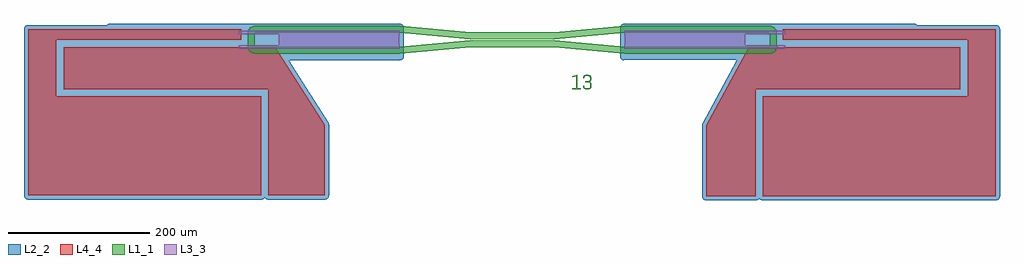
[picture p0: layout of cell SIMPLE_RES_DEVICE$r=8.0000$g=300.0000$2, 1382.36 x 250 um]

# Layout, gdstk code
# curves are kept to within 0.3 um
import gdstk
lib = gdstk.Library(unit=1e-6, precision=1e-10)
def P(c, l, *ps):  # polygons
    for p in ps: c.add(gdstk.Polygon(p, *l))
L1_1 = (1, 1)
L2_2 = (2, 2)
L3_3 = (3, 3)
L4_4 = (4, 4)

simple_res_device_r_8_00 = lib.new_cell('SIMPLE_RES_DEVICE$r=8.0000$g=300.0000$2')
P(simple_res_device_r_8_00, L1_1, [(-610.382,-15.25),(-614.2088,-14.4888),(-617.4531,-12.3211),(-619.6208,-9.0768),(-620.3338,-6.2302),(-619.9514,17.6528),(-616.7259,22.4801),(-611.3622,24.7018),(-405.182,24.75),(-304.713,15.35),(-245.6,15.35),(-245.6,5.35),(-305.182,5.35),(-405.182,14.75),(-610.382,14.75),(-610.382,-5.25),(-405.182,-5.25),(-305.182,4.15),(-245.6,4.15),(-245.6,-5.85),(-304.713,-5.85),(-405.182,-15.25)],
  [(-86.018,-15.25),(-186.487,-5.85),(-245.6,-5.85),(-245.6,4.15),(-186.018,4.15),(-86.018,-5.25),(119.182,-5.25),(119.182,14.75),(-86.018,14.75),(-186.018,5.35),(-245.6,5.35),(-245.6,15.35),(-186.487,15.35),(-86.018,24.75),(120.1622,24.7018),(125.5259,22.4801),(128.7514,17.6528),(129.1338,-6.2302),(128.0012,-9.964),(125.5259,-12.9801),(123.0088,-14.4888),(119.182,-15.25)],
  [(-140.112,-65.548),(-142.57,-65.138),(-143.59,-64.69),(-144.524,-63.934),(-145.1,-62.864),(-145.274,-60.466),(-143.71,-60.466),(-143.448,-62.708),(-142.682,-63.494),(-141.528,-63.962),(-140.23,-64.168),(-137.914,-64.062),(-136.808,-63.71),(-135.884,-63.09),(-135.212,-62.16),(-135.212,-57.766),(-135.44,-56.756),(-136.056,-55.94),(-136.934,-55.438),(-138.152,-55.188),(-142.428,-55.188),(-142.428,-53.828),(-138.444,-53.828),(-137.424,-53.672),(-136.436,-53.186),(-135.694,-52.34),(-135.4,-51.346),(-135.528,-48.066),(-136.104,-47.168),(-137.022,-46.604),(-138.072,-46.316),(-140.208,-46.24),(-142.524,-46.89),(-143.29,-47.658),(-143.566,-48.692),(-143.566,-49.89),(-145.132,-49.89),(-145.132,-48.692),(-144.982,-47.554),(-144.46,-46.488),(-143.574,-45.718),(-141.218,-44.946),(-138.8,-44.832),(-136.358,-45.228),(-135.37,-45.672),(-134.484,-46.432),(-133.978,-47.556),(-133.946,-52.2),(-134.35,-53.258),(-135.092,-54.016),(-136.08,-54.416),(-134.222,-55.754),(-133.78,-56.678),(-133.654,-61.746),(-133.828,-62.86),(-134.404,-63.91),(-135.338,-64.67),(-137.716,-65.434)],
  [(-160.601,-65.22),(-160.601,-63.87),(-155.289,-63.87),(-155.289,-46.736),(-160.601,-48.1),(-160.601,-46.7),(-153.805,-44.946),(-153.805,-63.87),(-148.353,-63.87),(-148.353,-63.87),(-148.353,-65.22)])
P(simple_res_device_r_8_00, L2_2, [(29.182,-222.5),(26.8859,-222.0433),(25.3756,-221.1381),(23.8905,-219.3284),(23.2109,-217.0881),(23.2995,-115.3184),(72.0913,-24.5),(-88.5597,-24.2416),(-91.4561,-22.3064),(-92.3613,-20.7961),(-92.818,-18.5),(-92.7891,22.0881),(-91.8068,24.8334),(-89.6464,26.7915),(-86.818,27.5),(323.182,27.5),(325.4781,27.0433),(327.6446,25.5),(439.182,25.5),(442.0104,24.7915),(444.4735,22.3284),(445.182,19.5),(445.182,-216.5),(444.4735,-219.3284),(442.0104,-221.7915),(439.182,-222.5),(109.182,-222.5),(106.3536,-221.7915),(104.182,-219.8148),(102.0104,-221.7915),(99.182,-222.5)],
  [(-931.182,-221.5),(-933.4781,-221.0433),(-935.4246,-219.7426),(-936.7253,-217.7961),(-937.182,-215.5),(-937.182,19.5),(-936.1708,22.8334),(-933.4781,25.0433),(-931.182,25.5),(-819.6446,25.5),(-817.4781,27.0433),(-815.182,27.5),(-405.182,27.5),(-401.8486,26.4888),(-399.6387,23.7961),(-399.182,21.5),(-399.2109,-19.0881),(-400.5439,-22.3064),(-403.4403,-24.2416),(-561.9792,-24.5),(-505.4213,-113.8225),(-505.182,-215.5),(-506.1932,-218.8334),(-508.8859,-221.0433),(-511.182,-221.5),(-591.182,-221.5),(-594.0104,-220.7915),(-596.182,-218.8148),(-598.3536,-220.7915),(-601.182,-221.5)])
P(simple_res_device_r_8_00, L3_3, [(-86.818,-8),(-86.818,-3),(-86.363,-3),(-86.363,11.75),(-85.918,11.75),(-85.918,-3),(-85.918,-3),(-84.563,-3),(-84.563,11.75),(-84.118,11.75),(-84.118,-3),(-82.763,-3),(-82.763,11.75),(-82.318,11.75),(-82.318,-3),(-80.963,-3),(-80.963,11.75),(-80.518,11.75),(-80.518,-3),(-79.163,-3),(-79.163,11.75),(-78.718,11.75),(-78.718,-3),(-77.363,-3),(-77.363,11.75),(-76.918,11.75),(-76.918,-3),(-75.563,-3),(-75.563,11.75),(-75.118,11.75),(-75.118,-3),(-73.763,-3),(-73.763,11.75),(-73.318,11.75),(-73.318,-3),(-71.963,-3),(-71.963,11.75),(-71.518,11.75),(-71.518,-3),(-70.163,-3),(-70.163,11.75),(-69.718,11.75),(-69.718,-3),(-68.363,-3),(-68.363,11.75),(-67.918,11.75),(-67.918,-3),(-66.563,-3),(-66.563,11.75),(-66.118,11.75),(-66.118,-3),(-64.763,-3),(-64.763,11.75),(-64.318,11.75),(-64.318,-3),(-62.963,-3),(-62.963,11.75),(-62.518,11.75),(-62.518,-3),(-61.163,-3),(-61.163,11.75),(-60.718,11.75),(-60.718,-3),(-59.363,-3),(-59.363,11.75),(-58.918,11.75),(-58.918,-3),(-57.563,-3),(-57.563,11.75),(-57.118,11.75),(-57.118,-3),(-55.763,-3),(-55.763,11.75),(-55.318,11.75),(-55.318,-3),(-53.963,-3),(-53.963,11.75),(-53.518,11.75),(-53.518,-3),(-52.163,-3),(-52.163,11.75),(-51.718,11.75),(-51.718,-3),(-50.363,-3),(-50.363,11.75),(-49.918,11.75),(-49.918,-3),(-48.563,-3),(-48.563,11.75),(-48.118,11.75),(-48.118,-3),(-46.763,-3),(-46.763,11.75),(-46.318,11.75),(-46.318,-3),(-44.963,-3),(-44.963,11.75),(-44.518,11.75),(-44.518,-3),(-43.163,-3),(-43.163,11.75),(-42.718,11.75),(-42.718,-3),(-41.363,-3),(-41.363,11.75),(-40.918,11.75),(-40.918,-3),(-39.563,-3),(-39.563,11.75),(-39.118,11.75),(-39.118,-3),(-37.763,-3),(-37.763,11.75),(-37.318,11.75),(-37.318,-3),(-35.963,-3),(-35.963,11.75),(-35.518,11.75),(-35.518,-3),(-34.163,-3),(-34.163,11.75),(-33.718,11.75),(-33.718,-3),(-32.363,-3),(-32.363,11.75),(-31.918,11.75),(-31.918,-3),(-30.563,-3),(-30.563,11.75),(-30.118,11.75),(-30.118,-3),(-28.763,-3),(-28.763,11.75),(-28.318,11.75),(-28.318,-3),(-26.963,-3),(-26.963,11.75),(-26.518,11.75),(-26.518,-3),(-25.163,-3),(-25.163,11.75),(-24.718,11.75),(-24.718,-3),(-23.363,-3),(-23.363,11.75),(-22.918,11.75),(-22.918,-3),(-21.563,-3),(-21.563,11.75),(-21.118,11.75),(-21.118,-3),(-19.763,-3),(-19.763,11.75),(-19.318,11.75),(-19.318,-3),(-17.963,-3),(-17.963,11.75),(-17.518,11.75),(-17.518,-3),(-16.163,-3),(-16.163,11.75),(-15.718,11.75),(-15.718,-3),(-14.363,-3),(-14.363,11.75),(-13.918,11.75),(-13.918,-3),(-12.563,-3),(-12.563,11.75),(-12.118,11.75),(-12.118,-3),(-10.763,-3),(-10.763,11.75),(-10.318,11.75),(-10.318,-3),(-8.963,-3),(-8.963,11.75),(-8.518,11.75),(-8.518,-3),(-7.163,-3),(-7.163,11.75),(-6.718,11.75),(-6.718,-3),(-5.363,-3),(-5.363,11.75),(-4.918,11.75),(-4.918,-3),(-3.563,-3),(-3.563,11.75),(-3.118,11.75),(-3.118,-3),(-1.763,-3),(-1.763,11.75),(-1.318,11.75),(-1.318,-3),(0.037,-3),(0.037,11.75),(0.482,11.75),(0.482,-3),(1.837,-3),(1.837,11.75),(2.282,11.75),(2.282,-3),(3.637,-3),(3.637,11.75),(4.082,11.75),(4.082,-3),(5.437,-3),(5.437,11.75),(5.882,11.75),(5.882,-3),(7.237,-3),(7.237,11.75),(7.682,11.75),(7.682,-3),(9.037,-3),(9.037,11.75),(9.482,11.75),(9.482,-3),(10.837,-3),(10.837,11.75),(11.282,11.75),(11.282,-3),(12.637,-3),(12.637,11.75),(13.082,11.75),(13.082,-3),(14.437,-3),(14.437,11.75),(14.882,11.75),(14.882,-3),(16.237,-3),(16.237,11.75),(16.682,11.75),(16.682,-3),(18.037,-3),(18.037,11.75),(18.482,11.75),(18.482,-3),(19.837,-3),(19.837,11.75),(20.282,11.75),(20.282,-3),(21.637,-3),(21.637,11.75),(22.082,11.75),(22.082,-3),(23.437,-3),(23.437,11.75),(23.882,11.75),(23.882,-3),(25.237,-3),(25.237,11.75),(25.682,11.75),(25.682,-3),(27.037,-3),(27.037,11.75),(27.482,11.75),(27.482,-3),(28.837,-3),(28.837,11.75),(29.282,11.75),(29.282,-3),(30.637,-3),(30.637,11.75),(31.082,11.75),(31.082,-3),(32.437,-3),(32.437,11.75),(32.882,11.75),(32.882,-3),(34.237,-3),(34.237,11.75),(34.682,11.75),(34.682,-3),(36.037,-3),(36.037,11.75),(36.482,11.75),(36.482,-3),(37.837,-3),(37.837,11.75),(38.282,11.75),(38.282,-3),(39.637,-3),(39.637,11.75),(40.082,11.75),(40.082,-3),(41.437,-3),(41.437,11.75),(41.882,11.75),(41.882,-3),(43.237,-3),(43.237,11.75),(43.682,11.75),(43.682,-3),(45.037,-3),(45.037,11.75),(45.482,11.75),(45.482,-3),(46.837,-3),(46.837,11.75),(47.282,11.75),(47.282,-3),(48.637,-3),(48.637,11.75),(49.082,11.75),(49.082,-3),(50.437,-3),(50.437,11.75),(50.882,11.75),(50.882,-3),(52.237,-3),(52.237,11.75),(52.682,11.75),(52.682,-3),(54.037,-3),(54.037,11.75),(54.482,11.75),(54.482,-3),(55.837,-3),(55.837,11.75),(56.282,11.75),(56.282,-3),(57.637,-3),(57.637,11.75),(58.082,11.75),(58.082,-3),(59.437,-3),(59.437,11.75),(59.882,11.75),(59.882,-3),(61.237,-3),(61.237,11.75),(61.682,11.75),(61.682,-3),(63.037,-3),(63.037,11.75),(63.482,11.75),(63.482,-3),(64.837,-3),(64.837,11.75),(65.282,11.75),(65.282,-3),(66.637,-3),(66.637,11.75),(67.082,11.75),(67.082,-3),(68.437,-3),(68.437,11.75),(68.882,11.75),(68.882,-3),(70.237,-3),(70.237,11.75),(70.682,11.75),(70.682,-3),(72.037,-3),(72.037,11.75),(72.482,11.75),(72.482,-3),(73.837,-3),(73.837,11.75),(74.282,11.75),(74.282,-3),(75.637,-3),(75.637,11.75),(76.082,11.75),(76.082,-3),(77.437,-3),(77.437,11.75),(77.882,11.75),(77.882,-3),(79.237,-3),(79.237,11.75),(79.682,11.75),(79.682,-3),(81.037,-3),(81.037,11.75),(81.482,11.75),(81.482,-3),(82.837,-3),(82.837,11.75),(83.282,11.75),(83.282,-3),(141.182,-3),(141.182,-8)],
  [(-85.463,-2.25),(-85.463,12.5),(-86.818,12.5),(-86.818,17.5),(141.182,17.5),(141.182,12.5),(84.182,12.5),(84.182,-2.25),(83.737,-2.25),(83.737,12.5),(82.382,12.5),(82.382,-2.25),(81.937,-2.25),(81.937,12.5),(80.582,12.5),(80.582,-2.25),(80.137,-2.25),(80.137,12.5),(78.782,12.5),(78.782,-2.25),(78.337,-2.25),(78.337,12.5),(76.982,12.5),(76.982,-2.25),(76.537,-2.25),(76.537,12.5),(75.182,12.5),(75.182,-2.25),(74.737,-2.25),(74.737,12.5),(73.382,12.5),(73.382,-2.25),(72.937,-2.25),(72.937,12.5),(71.582,12.5),(71.582,-2.25),(71.137,-2.25),(71.137,12.5),(69.782,12.5),(69.782,-2.25),(69.337,-2.25),(69.337,12.5),(67.982,12.5),(67.982,-2.25),(67.537,-2.25),(67.537,12.5),(66.182,12.5),(66.182,-2.25),(65.737,-2.25),(65.737,12.5),(64.382,12.5),(64.382,-2.25),(63.937,-2.25),(63.937,12.5),(62.582,12.5),(62.582,-2.25),(62.137,-2.25),(62.137,12.5),(60.782,12.5),(60.782,-2.25),(60.337,-2.25),(60.337,12.5),(58.982,12.5),(58.982,-2.25),(58.537,-2.25),(58.537,12.5),(57.182,12.5),(57.182,-2.25),(56.737,-2.25),(56.737,12.5),(55.382,12.5),(55.382,-2.25),(54.937,-2.25),(54.937,12.5),(53.582,12.5),(53.582,-2.25),(53.137,-2.25),(53.137,12.5),(51.782,12.5),(51.782,-2.25),(51.337,-2.25),(51.337,12.5),(49.982,12.5),(49.982,-2.25),(49.537,-2.25),(49.537,12.5),(48.182,12.5),(48.182,-2.25),(47.737,-2.25),(47.737,12.5),(46.382,12.5),(46.382,-2.25),(45.937,-2.25),(45.937,12.5),(44.582,12.5),(44.582,-2.25),(44.137,-2.25),(44.137,12.5),(42.782,12.5),(42.782,-2.25),(42.337,-2.25),(42.337,12.5),(40.982,12.5),(40.982,-2.25),(40.537,-2.25),(40.537,12.5),(39.182,12.5),(39.182,-2.25),(38.737,-2.25),(38.737,12.5),(37.382,12.5),(37.382,-2.25),(36.937,-2.25),(36.937,12.5),(35.582,12.5),(35.582,-2.25),(35.137,-2.25),(35.137,12.5),(33.782,12.5),(33.782,-2.25),(33.337,-2.25),(33.337,12.5),(31.982,12.5),(31.982,-2.25),(31.537,-2.25),(31.537,12.5),(30.182,12.5),(30.182,-2.25),(29.737,-2.25),(29.737,12.5),(28.382,12.5),(28.382,-2.25),(27.937,-2.25),(27.937,12.5),(26.582,12.5),(26.582,-2.25),(26.137,-2.25),(26.137,12.5),(24.782,12.5),(24.782,-2.25),(24.337,-2.25),(24.337,12.5),(22.982,12.5),(22.982,-2.25),(22.537,-2.25),(22.537,12.5),(21.182,12.5),(21.182,-2.25),(20.737,-2.25),(20.737,12.5),(19.382,12.5),(19.382,-2.25),(18.937,-2.25),(18.937,12.5),(17.582,12.5),(17.582,-2.25),(17.137,-2.25),(17.137,12.5),(15.782,12.5),(15.782,-2.25),(15.337,-2.25),(15.337,12.5),(13.982,12.5),(13.982,-2.25),(13.537,-2.25),(13.537,12.5),(12.182,12.5),(12.182,-2.25),(11.737,-2.25),(11.737,12.5),(10.382,12.5),(10.382,-2.25),(9.937,-2.25),(9.937,12.5),(8.582,12.5),(8.582,-2.25),(8.137,-2.25),(8.137,12.5),(6.782,12.5),(6.782,-2.25),(6.337,-2.25),(6.337,12.5),(4.982,12.5),(4.982,-2.25),(4.537,-2.25),(4.537,12.5),(3.182,12.5),(3.182,-2.25),(2.737,-2.25),(2.737,12.5),(1.382,12.5),(1.382,-2.25),(0.937,-2.25),(0.937,12.5),(-0.418,12.5),(-0.418,-2.25),(-0.863,-2.25),(-0.863,12.5),(-2.218,12.5),(-2.218,-2.25),(-2.663,-2.25),(-2.663,12.5),(-4.018,12.5),(-4.018,-2.25),(-4.463,-2.25),(-4.463,12.5),(-5.818,12.5),(-5.818,-2.25),(-6.263,-2.25),(-6.263,12.5),(-7.618,12.5),(-7.618,-2.25),(-8.063,-2.25),(-8.063,12.5),(-9.418,12.5),(-9.418,-2.25),(-9.863,-2.25),(-9.863,12.5),(-11.218,12.5),(-11.218,-2.25),(-11.663,-2.25),(-11.663,12.5),(-13.018,12.5),(-13.018,-2.25),(-13.463,-2.25),(-13.463,12.5),(-14.818,12.5),(-14.818,-2.25),(-15.263,-2.25),(-15.263,12.5),(-16.618,12.5),(-16.618,-2.25),(-17.063,-2.25),(-17.063,12.5),(-18.418,12.5),(-18.418,-2.25),(-18.863,-2.25),(-18.863,12.5),(-20.218,12.5),(-20.218,-2.25),(-20.663,-2.25),(-20.663,12.5),(-22.018,12.5),(-22.018,-2.25),(-22.463,-2.25),(-22.463,12.5),(-23.818,12.5),(-23.818,-2.25),(-24.263,-2.25),(-24.263,12.5),(-25.618,12.5),(-25.618,-2.25),(-26.063,-2.25),(-26.063,12.5),(-27.418,12.5),(-27.418,-2.25),(-27.863,-2.25),(-27.863,12.5),(-29.218,12.5),(-29.218,-2.25),(-29.663,-2.25),(-29.663,12.5),(-31.018,12.5),(-31.018,-2.25),(-31.463,-2.25),(-31.463,12.5),(-32.818,12.5),(-32.818,-2.25),(-33.263,-2.25),(-33.263,12.5),(-34.618,12.5),(-34.618,-2.25),(-35.063,-2.25),(-35.063,12.5),(-36.418,12.5),(-36.418,-2.25),(-36.863,-2.25),(-36.863,12.5),(-38.218,12.5),(-38.218,-2.25),(-38.663,-2.25),(-38.663,12.5),(-40.018,12.5),(-40.018,-2.25),(-40.463,-2.25),(-40.463,12.5),(-41.818,12.5),(-41.818,-2.25),(-42.263,-2.25),(-42.263,12.5),(-43.618,12.5),(-43.618,-2.25),(-44.063,-2.25),(-44.063,12.5),(-45.418,12.5),(-45.418,-2.25),(-45.863,-2.25),(-45.863,12.5),(-47.218,12.5),(-47.218,-2.25),(-47.663,-2.25),(-47.663,12.5),(-49.018,12.5),(-49.018,-2.25),(-49.463,-2.25),(-49.463,12.5),(-50.818,12.5),(-50.818,-2.25),(-51.263,-2.25),(-51.263,12.5),(-52.618,12.5),(-52.618,-2.25),(-53.063,-2.25),(-53.063,12.5),(-54.418,12.5),(-54.418,-2.25),(-54.863,-2.25),(-54.863,12.5),(-56.218,12.5),(-56.218,-2.25),(-56.663,-2.25),(-56.663,12.5),(-58.018,12.5),(-58.018,-2.25),(-58.463,-2.25),(-58.463,12.5),(-59.818,12.5),(-59.818,-2.25),(-60.263,-2.25),(-60.263,12.5),(-61.618,12.5),(-61.618,-2.25),(-62.063,-2.25),(-62.063,12.5),(-63.418,12.5),(-63.418,-2.25),(-63.863,-2.25),(-63.863,12.5),(-65.218,12.5),(-65.218,-2.25),(-65.663,-2.25),(-65.663,12.5),(-67.018,12.5),(-67.018,-2.25),(-67.463,-2.25),(-67.463,12.5),(-68.818,12.5),(-68.818,-2.25),(-69.263,-2.25),(-69.263,12.5),(-70.618,12.5),(-70.618,-2.25),(-71.063,-2.25),(-71.063,12.5),(-72.418,12.5),(-72.418,-2.25),(-72.863,-2.25),(-72.863,12.5),(-74.218,12.5),(-74.218,-2.25),(-74.663,-2.25),(-74.663,12.5),(-76.018,12.5),(-76.018,-2.25),(-76.463,-2.25),(-76.463,12.5),(-77.818,12.5),(-77.818,-2.25),(-78.263,-2.25),(-78.263,12.5),(-79.618,12.5),(-79.618,-2.25),(-80.063,-2.25),(-80.063,12.5),(-80.063,12.5),(-81.418,12.5),(-81.418,-2.25),(-81.863,-2.25),(-81.863,12.5),(-83.218,12.5),(-83.218,-2.25),(-83.663,-2.25),(-83.663,12.5),(-85.018,12.5),(-85.018,-2.25)],
  [(-633.182,-8),(-633.182,-3),(-575.282,-3),(-575.282,11.75),(-574.837,11.75),(-574.837,-3),(-573.482,-3),(-573.482,11.75),(-573.037,11.75),(-573.037,-3),(-571.682,-3),(-571.682,11.75),(-571.237,11.75),(-571.237,-3),(-569.882,-3),(-569.882,11.75),(-569.437,11.75),(-569.437,-3),(-568.082,-3),(-568.082,11.75),(-567.637,11.75),(-567.637,-3),(-566.282,-3),(-566.282,11.75),(-565.837,11.75),(-565.837,-3),(-564.482,-3),(-564.482,11.75),(-564.037,11.75),(-564.037,-3),(-562.682,-3),(-562.682,11.75),(-562.237,11.75),(-562.237,-3),(-560.882,-3),(-560.882,11.75),(-560.437,11.75),(-560.437,-3),(-559.082,-3),(-559.082,11.75),(-558.637,11.75),(-558.637,-3),(-558.637,-3),(-557.282,-3),(-557.282,11.75),(-556.837,11.75),(-556.837,-3),(-555.482,-3),(-555.482,11.75),(-555.037,11.75),(-555.037,-3),(-553.682,-3),(-553.682,11.75),(-553.237,11.75),(-553.237,-3),(-551.882,-3),(-551.882,11.75),(-551.437,11.75),(-551.437,-3),(-550.082,-3),(-550.082,11.75),(-549.637,11.75),(-549.637,-3),(-548.282,-3),(-548.282,11.75),(-547.837,11.75),(-547.837,-3),(-546.482,-3),(-546.482,11.75),(-546.037,11.75),(-546.037,-3),(-544.682,-3),(-544.682,11.75),(-544.237,11.75),(-544.237,-3),(-542.882,-3),(-542.882,11.75),(-542.437,11.75),(-542.437,-3),(-541.082,-3),(-541.082,11.75),(-540.637,11.75),(-540.637,-3),(-539.282,-3),(-539.282,11.75),(-538.837,11.75),(-538.837,-3),(-537.482,-3),(-537.482,11.75),(-537.037,11.75),(-537.037,-3),(-535.682,-3),(-535.682,11.75),(-535.237,11.75),(-535.237,-3),(-533.882,-3),(-533.882,11.75),(-533.437,11.75),(-533.437,-3),(-532.082,-3),(-532.082,11.75),(-531.637,11.75),(-531.637,-3),(-530.282,-3),(-530.282,11.75),(-529.837,11.75),(-529.837,-3),(-528.482,-3),(-528.482,11.75),(-528.037,11.75),(-528.037,-3),(-526.682,-3),(-526.682,11.75),(-526.237,11.75),(-526.237,-3),(-524.882,-3),(-524.882,11.75),(-524.437,11.75),(-524.437,-3),(-523.082,-3),(-523.082,11.75),(-522.637,11.75),(-522.637,-3),(-521.282,-3),(-521.282,11.75),(-520.837,11.75),(-520.837,-3),(-519.482,-3),(-519.482,11.75),(-519.037,11.75),(-519.037,-3),(-517.682,-3),(-517.682,11.75),(-517.237,11.75),(-517.237,-3),(-515.882,-3),(-515.882,11.75),(-515.437,11.75),(-515.437,-3),(-514.082,-3),(-514.082,11.75),(-513.637,11.75),(-513.637,-3),(-512.282,-3),(-512.282,11.75),(-511.837,11.75),(-511.837,-3),(-510.482,-3),(-510.482,11.75),(-510.037,11.75),(-510.037,-3),(-508.682,-3),(-508.682,11.75),(-508.237,11.75),(-508.237,-3),(-506.882,-3),(-506.882,11.75),(-506.437,11.75),(-506.437,-3),(-505.082,-3),(-505.082,11.75),(-504.637,11.75),(-504.637,-3),(-503.282,-3),(-503.282,11.75),(-502.837,11.75),(-502.837,-3),(-501.482,-3),(-501.482,11.75),(-501.037,11.75),(-501.037,-3),(-499.682,-3),(-499.682,11.75),(-499.237,11.75),(-499.237,-3),(-497.882,-3),(-497.882,11.75),(-497.437,11.75),(-497.437,-3),(-496.082,-3),(-496.082,11.75),(-495.637,11.75),(-495.637,-3),(-494.282,-3),(-494.282,11.75),(-493.837,11.75),(-493.837,-3),(-492.482,-3),(-492.482,11.75),(-492.037,11.75),(-492.037,-3),(-490.682,-3),(-490.682,11.75),(-490.237,11.75),(-490.237,-3),(-488.882,-3),(-488.882,11.75),(-488.437,11.75),(-488.437,-3),(-487.082,-3),(-487.082,11.75),(-486.637,11.75),(-486.637,-3),(-485.282,-3),(-485.282,11.75),(-484.837,11.75),(-484.837,-3),(-483.482,-3),(-483.482,11.75),(-483.037,11.75),(-483.037,-3),(-481.682,-3),(-481.682,11.75),(-481.237,11.75),(-481.237,-3),(-479.882,-3),(-479.882,11.75),(-479.437,11.75),(-479.437,-3),(-478.082,-3),(-478.082,11.75),(-477.637,11.75),(-477.637,-3),(-476.282,-3),(-476.282,11.75),(-475.837,11.75),(-475.837,-3),(-474.482,-3),(-474.482,11.75),(-474.037,11.75),(-474.037,-3),(-472.682,-3),(-472.682,11.75),(-472.237,11.75),(-472.237,-3),(-470.882,-3),(-470.882,11.75),(-470.437,11.75),(-470.437,-3),(-469.082,-3),(-469.082,11.75),(-468.637,11.75),(-468.637,-3),(-467.282,-3),(-467.282,11.75),(-466.837,11.75),(-466.837,-3),(-465.482,-3),(-465.482,11.75),(-465.037,11.75),(-465.037,-3),(-463.682,-3),(-463.682,11.75),(-463.237,11.75),(-463.237,-3),(-461.882,-3),(-461.882,11.75),(-461.437,11.75),(-461.437,-3),(-460.082,-3),(-460.082,11.75),(-459.637,11.75),(-459.637,-3),(-458.282,-3),(-458.282,11.75),(-457.837,11.75),(-457.837,-3),(-456.482,-3),(-456.482,11.75),(-456.037,11.75),(-456.037,-3),(-454.682,-3),(-454.682,11.75),(-454.237,11.75),(-454.237,-3),(-452.882,-3),(-452.882,11.75),(-452.437,11.75),(-452.437,-3),(-451.082,-3),(-451.082,11.75),(-450.637,11.75),(-450.637,-3),(-449.282,-3),(-449.282,11.75),(-448.837,11.75),(-448.837,-3),(-447.482,-3),(-447.482,11.75),(-447.037,11.75),(-447.037,-3),(-445.682,-3),(-445.682,11.75),(-445.237,11.75),(-445.237,-3),(-443.882,-3),(-443.882,11.75),(-443.437,11.75),(-443.437,-3),(-442.082,-3),(-442.082,11.75),(-441.637,11.75),(-441.637,-3),(-440.282,-3),(-440.282,11.75),(-439.837,11.75),(-439.837,-3),(-438.482,-3),(-438.482,11.75),(-438.037,11.75),(-438.037,-3),(-436.682,-3),(-436.682,11.75),(-436.237,11.75),(-436.237,-3),(-434.882,-3),(-434.882,11.75),(-434.437,11.75),(-434.437,-3),(-433.082,-3),(-433.082,11.75),(-432.637,11.75),(-432.637,-3),(-431.282,-3),(-431.282,11.75),(-430.837,11.75),(-430.837,-3),(-429.482,-3),(-429.482,11.75),(-429.037,11.75),(-429.037,-3),(-427.682,-3),(-427.682,11.75),(-427.237,11.75),(-427.237,-3),(-425.882,-3),(-425.882,11.75),(-425.437,11.75),(-425.437,-3),(-424.082,-3),(-424.082,11.75),(-423.637,11.75),(-423.637,-3),(-422.282,-3),(-422.282,11.75),(-421.837,11.75),(-421.837,-3),(-420.482,-3),(-420.482,11.75),(-420.037,11.75),(-420.037,-3),(-418.682,-3),(-418.682,11.75),(-418.237,11.75),(-418.237,-3),(-416.882,-3),(-416.882,11.75),(-416.437,11.75),(-416.437,-3),(-415.082,-3),(-415.082,11.75),(-414.637,11.75),(-414.637,-3),(-413.282,-3),(-413.282,11.75),(-412.837,11.75),(-412.837,-3),(-411.482,-3),(-411.482,11.75),(-411.037,11.75),(-411.037,-3),(-409.682,-3),(-409.682,11.75),(-409.237,11.75),(-409.237,-3),(-407.882,-3),(-407.882,11.75),(-407.437,11.75),(-407.437,-3),(-406.082,-3),(-406.082,11.75),(-405.637,11.75),(-405.637,-3),(-405.182,-3),(-405.182,-8)],
  [(-576.182,-2.25),(-576.182,12.5),(-633.182,12.5),(-633.182,17.5),(-405.182,17.5),(-405.182,12.5),(-406.537,12.5),(-406.537,-2.25),(-406.982,-2.25),(-406.982,12.5),(-408.337,12.5),(-408.337,-2.25),(-408.782,-2.25),(-408.782,12.5),(-410.137,12.5),(-410.137,-2.25),(-410.582,-2.25),(-410.582,12.5),(-411.937,12.5),(-411.937,-2.25),(-412.382,-2.25),(-412.382,12.5),(-413.737,12.5),(-413.737,-2.25),(-414.182,-2.25),(-414.182,12.5),(-415.537,12.5),(-415.537,-2.25),(-415.982,-2.25),(-415.982,12.5),(-417.337,12.5),(-417.337,-2.25),(-417.782,-2.25),(-417.782,12.5),(-419.137,12.5),(-419.137,-2.25),(-419.582,-2.25),(-419.582,12.5),(-420.937,12.5),(-420.937,-2.25),(-421.382,-2.25),(-421.382,12.5),(-422.737,12.5),(-422.737,-2.25),(-423.182,-2.25),(-423.182,12.5),(-424.537,12.5),(-424.537,-2.25),(-424.982,-2.25),(-424.982,12.5),(-426.337,12.5),(-426.337,-2.25),(-426.782,-2.25),(-426.782,12.5),(-428.137,12.5),(-428.137,-2.25),(-428.582,-2.25),(-428.582,12.5),(-429.937,12.5),(-429.937,-2.25),(-430.382,-2.25),(-430.382,12.5),(-431.737,12.5),(-431.737,-2.25),(-432.182,-2.25),(-432.182,12.5),(-433.537,12.5),(-433.537,-2.25),(-433.982,-2.25),(-433.982,12.5),(-435.337,12.5),(-435.337,-2.25),(-435.782,-2.25),(-435.782,12.5),(-437.137,12.5),(-437.137,-2.25),(-437.582,-2.25),(-437.582,12.5),(-438.937,12.5),(-438.937,-2.25),(-439.382,-2.25),(-439.382,12.5),(-440.737,12.5),(-440.737,-2.25),(-441.182,-2.25),(-441.182,12.5),(-442.537,12.5),(-442.537,-2.25),(-442.982,-2.25),(-442.982,12.5),(-444.337,12.5),(-444.337,-2.25),(-444.782,-2.25),(-444.782,12.5),(-446.137,12.5),(-446.137,-2.25),(-446.582,-2.25),(-446.582,12.5),(-447.937,12.5),(-447.937,-2.25),(-448.382,-2.25),(-448.382,12.5),(-449.737,12.5),(-449.737,-2.25),(-450.182,-2.25),(-450.182,12.5),(-451.537,12.5),(-451.537,-2.25),(-451.982,-2.25),(-451.982,12.5),(-453.337,12.5),(-453.337,-2.25),(-453.782,-2.25),(-453.782,12.5),(-455.137,12.5),(-455.137,-2.25),(-455.582,-2.25),(-455.582,12.5),(-456.937,12.5),(-456.937,-2.25),(-457.382,-2.25),(-457.382,12.5),(-458.737,12.5),(-458.737,-2.25),(-459.182,-2.25),(-459.182,12.5),(-460.537,12.5),(-460.537,-2.25),(-460.982,-2.25),(-460.982,12.5),(-462.337,12.5),(-462.337,-2.25),(-462.782,-2.25),(-462.782,12.5),(-464.137,12.5),(-464.137,-2.25),(-464.582,-2.25),(-464.582,12.5),(-465.937,12.5),(-465.937,-2.25),(-466.382,-2.25),(-466.382,12.5),(-467.737,12.5),(-467.737,-2.25),(-468.182,-2.25),(-468.182,12.5),(-469.537,12.5),(-469.537,-2.25),(-469.982,-2.25),(-469.982,12.5),(-471.337,12.5),(-471.337,-2.25),(-471.782,-2.25),(-471.782,12.5),(-473.137,12.5),(-473.137,-2.25),(-473.582,-2.25),(-473.582,12.5),(-474.937,12.5),(-474.937,-2.25),(-475.382,-2.25),(-475.382,12.5),(-476.737,12.5),(-476.737,-2.25),(-477.182,-2.25),(-477.182,12.5),(-478.537,12.5),(-478.537,-2.25),(-478.982,-2.25),(-478.982,12.5),(-480.337,12.5),(-480.337,-2.25),(-480.782,-2.25),(-480.782,12.5),(-482.137,12.5),(-482.137,-2.25),(-482.582,-2.25),(-482.582,12.5),(-483.937,12.5),(-483.937,-2.25),(-484.382,-2.25),(-484.382,12.5),(-485.737,12.5),(-485.737,-2.25),(-486.182,-2.25),(-486.182,12.5),(-487.537,12.5),(-487.537,-2.25),(-487.982,-2.25),(-487.982,12.5),(-489.337,12.5),(-489.337,-2.25),(-489.782,-2.25),(-489.782,12.5),(-491.137,12.5),(-491.137,-2.25),(-491.582,-2.25),(-491.582,12.5),(-492.937,12.5),(-492.937,-2.25),(-493.382,-2.25),(-493.382,12.5),(-494.737,12.5),(-494.737,-2.25),(-495.182,-2.25),(-495.182,12.5),(-496.537,12.5),(-496.537,-2.25),(-496.982,-2.25),(-496.982,12.5),(-498.337,12.5),(-498.337,-2.25),(-498.782,-2.25),(-498.782,12.5),(-500.137,12.5),(-500.137,-2.25),(-500.582,-2.25),(-500.582,12.5),(-501.937,12.5),(-501.937,-2.25),(-502.382,-2.25),(-502.382,12.5),(-503.737,12.5),(-503.737,-2.25),(-504.182,-2.25),(-504.182,12.5),(-505.537,12.5),(-505.537,-2.25),(-505.982,-2.25),(-505.982,12.5),(-507.337,12.5),(-507.337,-2.25),(-507.782,-2.25),(-507.782,12.5),(-509.137,12.5),(-509.137,-2.25),(-509.582,-2.25),(-509.582,12.5),(-510.937,12.5),(-510.937,-2.25),(-511.382,-2.25),(-511.382,12.5),(-512.737,12.5),(-512.737,-2.25),(-513.182,-2.25),(-513.182,12.5),(-514.537,12.5),(-514.537,-2.25),(-514.982,-2.25),(-514.982,12.5),(-516.337,12.5),(-516.337,-2.25),(-516.782,-2.25),(-516.782,12.5),(-518.137,12.5),(-518.137,-2.25),(-518.582,-2.25),(-518.582,12.5),(-519.937,12.5),(-519.937,-2.25),(-520.382,-2.25),(-520.382,12.5),(-521.737,12.5),(-521.737,-2.25),(-522.182,-2.25),(-522.182,12.5),(-523.537,12.5),(-523.537,-2.25),(-523.982,-2.25),(-523.982,12.5),(-525.337,12.5),(-525.337,-2.25),(-525.782,-2.25),(-525.782,12.5),(-527.137,12.5),(-527.137,-2.25),(-527.582,-2.25),(-527.582,12.5),(-528.937,12.5),(-528.937,-2.25),(-529.382,-2.25),(-529.382,12.5),(-530.737,12.5),(-530.737,-2.25),(-531.182,-2.25),(-531.182,12.5),(-532.537,12.5),(-532.537,-2.25),(-532.982,-2.25),(-532.982,12.5),(-534.337,12.5),(-534.337,-2.25),(-534.782,-2.25),(-534.782,12.5),(-536.137,12.5),(-536.137,-2.25),(-536.582,-2.25),(-536.582,12.5),(-537.937,12.5),(-537.937,-2.25),(-538.382,-2.25),(-538.382,12.5),(-539.737,12.5),(-539.737,-2.25),(-540.182,-2.25),(-540.182,12.5),(-541.537,12.5),(-541.537,-2.25),(-541.982,-2.25),(-541.982,-2.25),(-541.982,12.5),(-543.337,12.5),(-543.337,-2.25),(-543.782,-2.25),(-543.782,12.5),(-545.137,12.5),(-545.137,-2.25),(-545.582,-2.25),(-545.582,12.5),(-546.937,12.5),(-546.937,-2.25),(-547.382,-2.25),(-547.382,12.5),(-548.737,12.5),(-548.737,-2.25),(-549.182,-2.25),(-549.182,12.5),(-550.537,12.5),(-550.537,-2.25),(-550.982,-2.25),(-550.982,12.5),(-552.337,12.5),(-552.337,-2.25),(-552.782,-2.25),(-552.782,12.5),(-554.137,12.5),(-554.137,-2.25),(-554.582,-2.25),(-554.582,12.5),(-555.937,12.5),(-555.937,-2.25),(-556.382,-2.25),(-556.382,12.5),(-557.737,12.5),(-557.737,-2.25),(-558.182,-2.25),(-558.182,12.5),(-559.537,12.5),(-559.537,-2.25),(-559.982,-2.25),(-559.982,12.5),(-561.337,12.5),(-561.337,-2.25),(-561.782,-2.25),(-561.782,12.5),(-563.137,12.5),(-563.137,-2.25),(-563.582,-2.25),(-563.582,12.5),(-564.937,12.5),(-564.937,-2.25),(-565.382,-2.25),(-565.382,12.5),(-566.737,12.5),(-566.737,-2.25),(-567.182,-2.25),(-567.182,12.5),(-568.537,12.5),(-568.537,-2.25),(-568.982,-2.25),(-568.982,12.5),(-570.337,12.5),(-570.337,-2.25),(-570.782,-2.25),(-570.782,12.5),(-572.137,12.5),(-572.137,-2.25),(-572.582,-2.25),(-572.582,12.5),(-573.937,12.5),(-573.937,-2.25),(-574.382,-2.25),(-574.382,12.5),(-575.737,12.5),(-575.737,-2.25)])
P(simple_res_device_r_8_00, L4_4, [(29.182,-216.5),(29.182,-116.5),(89.182,-5.5),(389.182,-5.5),(389.182,-5.5),(389.182,-65.5),(99.182,-65.5),(99.182,-216.5)],
  [(109.182,-216.5),(109.182,-75.5),(399.182,-75.5),(399.182,4.5),(137.182,4.5),(137.182,19.5),(439.182,19.5),(439.182,19.5),(439.182,-216.5)],
  [(-591.182,-215.5),(-591.182,-65.5),(-881.182,-65.5),(-881.182,-5.5),(-581.182,-5.5),(-511.182,-115.5),(-511.182,-115.5),(-511.182,-215.5)],
  [(-931.182,-215.5),(-931.182,19.5),(-629.182,19.5),(-629.182,4.5),(-629.182,4.5),(-891.182,4.5),(-891.182,-75.5),(-601.182,-75.5),(-601.182,-215.5)])

lib.write_gds('SIMPLE_RES_DEVICE_r_8.0000_g_300.0000_2.gds')
